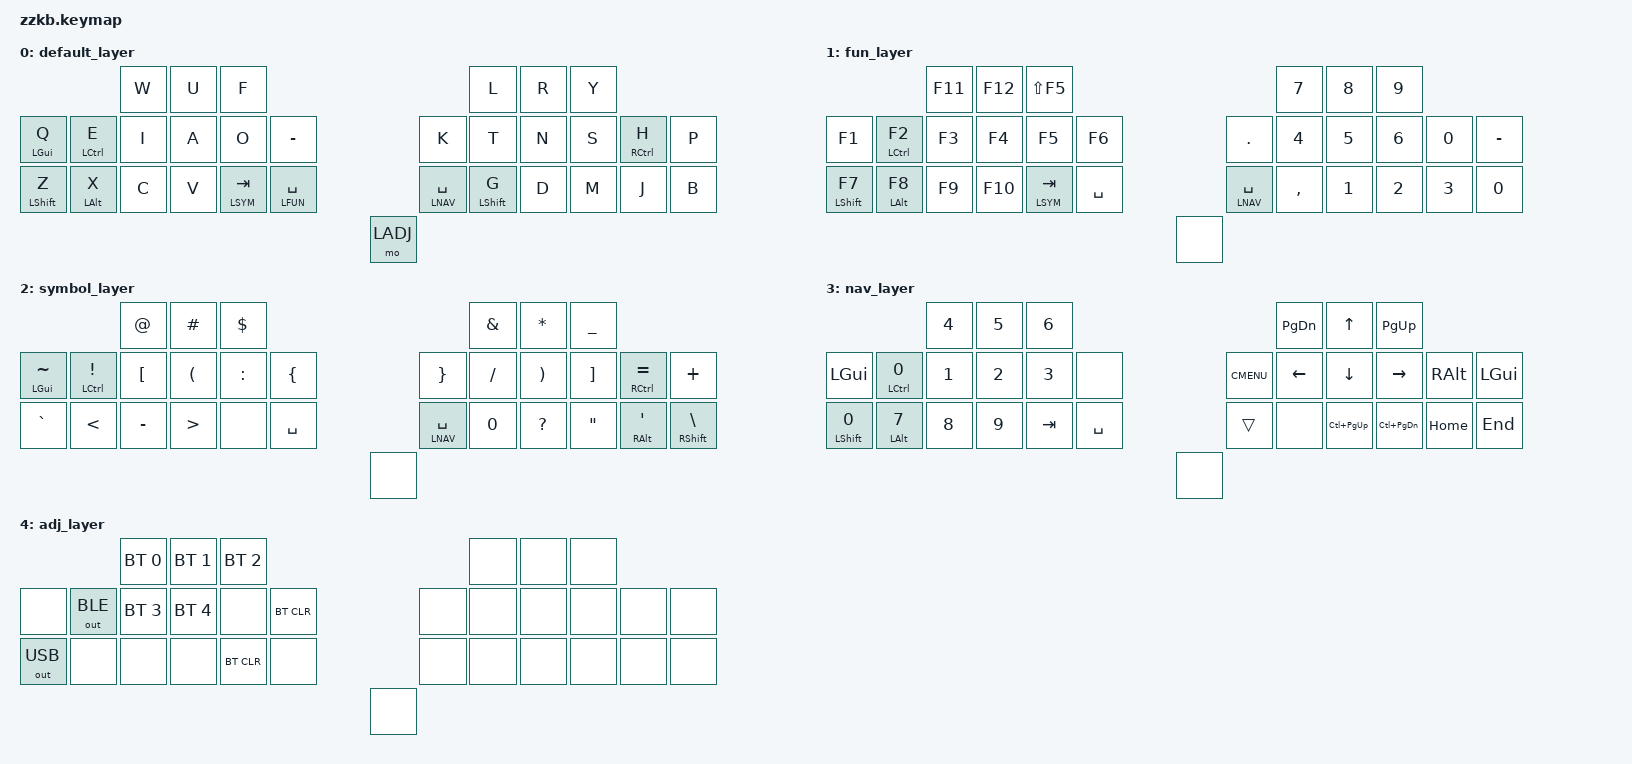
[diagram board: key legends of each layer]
#include <behaviors.dtsi>
#include <dt-bindings/zmk/keys.h>
#include <dt-bindings/zmk/bt.h>
#include <dt-bindings/zmk/outputs.h>

#define LDEF 0
#define LFUN 1
#define LSYM 2
#define LNAV 3
#define LADJ 4

&mt {
    tapping-term-ms = <175>;
    flavor = "tap-preferred";
};

&lt {
    tapping-term-ms = <175>;
    flavor = "balanced";
};


&caps_word {
    continue-list = <UNDERSCORE MINUS BACKSPACE>;
};

/ {
    combos{
        compatible = "zmk,combos";
        timeout-ms = <200>;

        // left 
        // T * * 2 3 4 * *  | ** ** 00 01 02 ** **
        // M 0 1 2 3 4 5 *  | 06 07 08 09 10 11 **
        // B * 1 2 3 4 5 6  | ** 18 19 20 21 22 23
        combo_left_23T {
            key-positions = <0 1>;
            bindings = <&kp ESC>;
        };
        combo_left_23M {
            key-positions = <8 9>;
            bindings = <&mo LFUN>;
        };
        combo_left_45M {
            key-positions = <10 11>;
            bindings = <&kp PRCNT>;
        };
        combo_left_4MB {
            key-positions = <10 21>;
            bindings = <&kp PIPE>;
        };

        // right 
        // T * * 2 3 4 * * | ** ** 03 04 05 ** **
        // M * 1 2 3 4 5 6 | ** 12 13 14 15 16 17
        // B 0 1 2 3 4 5 * | 24 25 26 27 28 29 **
        combo_right_2TM {
            key-positions = <3 13>;
            bindings = <&kp COMMA>;
        };
        combo_right_3TM {
            key-positions = <4 14>;
            bindings = <&kp DOT>;
        };
        combo_right_4TM {
            key-positions = <5 15>;
            bindings = <&kp SEMI>;
        };
        combo_right_12M {
            key-positions = <12 13>;
            bindings = <&kp CARET>;
        };
        combo_right_23M {
            key-positions = <13 14>;
            bindings = <&kp BSPC>;
        };
        combo_right_34M {
            key-positions = <14 15>;
            bindings = <&kp RET>;
        };
        combo_right_23B {
            key-positions = <26 27>;
            bindings = <&kp DEL>;
        };
        // todo delete if mouse enabled
        combo_right_34B {
            key-positions = <27 28>;
            bindings = <&kp RET>;
        };

    // left 
    // T * * 2 3 4 * *  | ** ** 00 01 02 ** **
    // M 0 1 2 3 4 5 *  | 06 07 08 09 10 11 **
    // B * 1 2 3 4 5 6  | ** 18 19 20 21 22 23
    // right 
    // T * * 2 3 4 * * | ** ** 03 04 05 ** **
    // M * 1 2 3 4 5 6 | ** 12 13 14 15 16 17
    // B 0 1 2 3 4 5 * | 24 25 26 27 28 29 **

        combo_both_5B1B {
            key-positions = <22 25>;
            bindings = <&caps_word>;
        };
        combo_both_5B0B {
            key-positions = <22 24>;
            bindings = <&caps_word>;
        };

    };


    behaviors {
    };

    keymap {
        compatible = "zmk,keymap";

        default_layer {
            bindings = <
                                    &kp W       &kp U  &kp F                                                                 &kp L &kp R &kp Y      
            &mt LGUI Q  &mt LCTRL E &kp I       &kp A  &kp O &kp MINUS                                          &kp K        &kp T &kp N &kp S &mt RCTRL H  &kp P 
                        &mt LSHFT Z &mt LALT X  &kp C  &kp V &lt LSYM TAB &lt LFUN SPACE         &lt LNAV SPACE &mt LSHFT G  &kp D &kp M &kp J &kp B
                                                                                        &mo LADJ
            >;
        };
        
        fun_layer {
            bindings = <
                                   &kp F11      &kp F12  &kp LS(F5)                                                        &kp N7 &kp N8 &kp N9 
            &kp F1   &mt LCTRL F2  &kp F3       &kp F4   &kp F5     &kp F6                                       &kp DOT   &kp N4 &kp N5 &kp N6 &kp N0 &kp MINUS
                     &mt LSHFT F7  &mt LALT F8  &kp F9   &kp F10    &lt LSYM TAB  &kp SPACE       &lt LNAV SPACE &kp COMMA &kp N1 &kp N2 &kp N3 &kp N0
                                                                                            &none
            >;
        };

        symbol_layer {
            bindings = <
                            &kp AT         &kp HASH &kp DLLR                                                                &kp AMPS   &kp ASTRK &kp UNDER    
            &mt LGUI TILDE  &mt LCTRL EXCL &kp LBKT &kp LPAR   &kp COLON &kp LBRC                                  &kp RBRC &kp SLASH  &kp RPAR  &kp RBKT     &mt RCTRL EQUAL &kp PLUS 
                            &kp GRAVE      &kp LT   &kp MINUS  &kp GT    &none     &kp SPACE       &lt LNAV SPACE  &kp N0   &kp QMARK  &kp DQT   &mt RALT SQT &mt RSHFT BSLH 
                                                                                             &none
            >;
        };

        nav_layer {
            bindings = <
                                  &kp N4      &kp N5 &kp N6                                           &kp PG_DN     &kp UP        &kp PG_UP  
            &kp LGUI &mt LCTRL N0 &kp N1      &kp N2 &kp N3 &none                         &kp K_CMENU &kp LEFT      &kp DOWN      &kp RIGHT  &kp RALT &kp LGUI
                     &mt LSHFT N0 &mt LALT N7 &kp N8 &kp N9 &kp TAB &kp SPACE &trans      &none       &kp LC(PG_UP) &kp LC(PG_DN) &kp HOME   &kp END
                                                                                    &none
            >;
        };

        adj_layer {
            bindings = <
                                  &bt BT_SEL 0 &bt BT_SEL 1 &bt BT_SEL 2                                         &none     &none     &none    
            &none   &out OUT_BLE  &bt BT_SEL 3 &bt BT_SEL 4 &none        &bt BT_CLR                      &none   &none     &none     &none    &none &none
                    &out OUT_USB  &none        &none        &none        &bt BT_CLR  &none &none         &none   &none     &none     &none    &none
                                                                                                  &none
            >;
        };
        
    };
};

